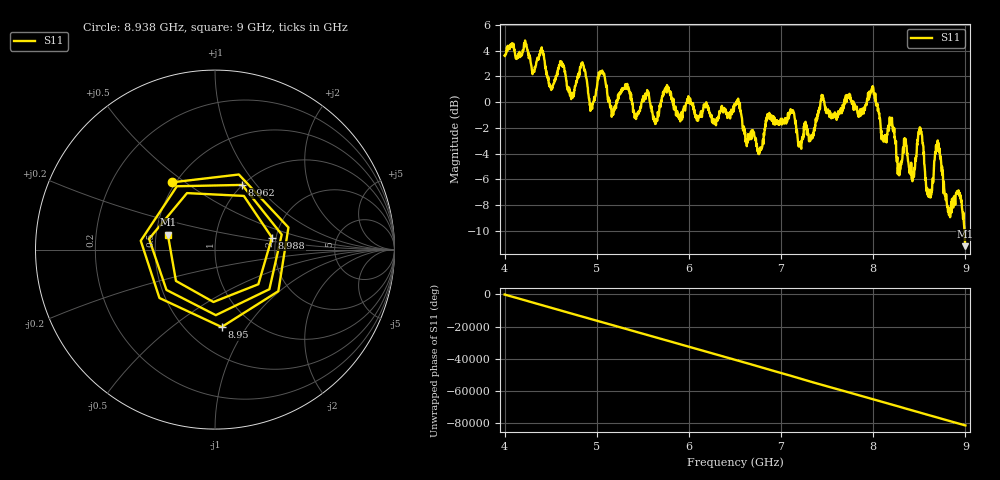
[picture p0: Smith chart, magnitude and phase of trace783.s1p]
! Created with skrf 1.8.0 (http://scikit-rf.org).
# Hz S RI R 50.0
!freq ReS11 ImS11
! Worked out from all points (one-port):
!   1601 points, 4 GHz to 9 GHz, reference 50 ohm
!   lowest |S11| = -11.2 dB at 9 GHz (marker M1), VSWR 1.76, Z = 28.9 + j5.2 ohm
!   |S11| at or under -10 dB: 8.989576 GHz to end of sweep
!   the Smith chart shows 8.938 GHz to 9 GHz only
!   S11 on the Smith chart (normalised r, x): 8.938 GHz: 0.48, +0.45; 8.95 GHz: 0.73, -0.77; 8.962 GHz: 1.00, +0.85; 8.988 GHz: 1.90, +0.28; 9 GHz: 0.58, +0.10
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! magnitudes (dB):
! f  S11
! 4 GHz  3.6
! 4.625 GHz  3.0
! 4.728 GHz  0.6
! 4.841 GHz  3.0
! 4.941 GHz  -0.4
! 5.047 GHz  2.2
! 5.166 GHz  -0.9
! 5.25 GHz  0.7
! 5.875 GHz  -1.1
! 6.5 GHz  -0.2
! 6.766 GHz  -3.8
! 6.859 GHz  -1.2
! 7.125 GHz  -0.8
! 7.209 GHz  -3.4
! 7.75 GHz  0.5
! 7.997 GHz  1.2
! 8.275 GHz  -4.8
! 8.375 GHz  -4.4
! 8.428 GHz  -5.8
! 8.512 GHz  -2.0
! 8.597 GHz  -6.8
! 8.697 GHz  -3.1
! 8.812 GHz  -8.5
! 8.938 GHz  -7.1
! 8.95 GHz  -7.3
! 8.962 GHz  -8.2
! 8.988 GHz  -9.8
! 9 GHz  -11.2
